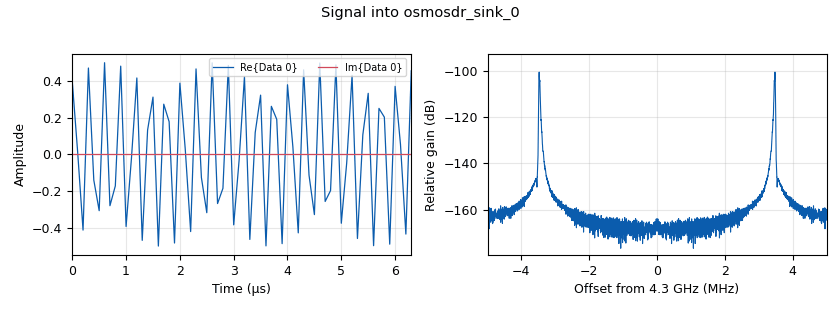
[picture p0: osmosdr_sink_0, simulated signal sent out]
options:
  parameters:
    author: LENOVO
    generate_options: qt_gui
    id: untitled
    output_language: python
    title: Not titled yet
  states: {}

blocks:
- name: chirps_per_second
  id: variable_qtgui_range
  parameters:
    start: '1'
    step: '1'
    stop: '1000000'
    value: '1'
  states: {}
- name: freq
  id: variable_qtgui_range
  parameters:
    start: 1e9
    step: 1e6
    stop: 6e9
    value: 4.3e9
  states: {}
- name: samp_rate
  id: variable
  parameters:
    value: 10e6
  states: {}
- name: analog_const_source_x_0
  id: analog_const_source_x
  parameters:
    const: '0'
    type: float
  states: {}
- name: analog_sig_source_x_0
  id: analog_sig_source_x
  parameters:
    amp: '0.5'
    freq: '10'
    offset: '0'
    phase: '0'
    samp_rate: samp_rate
    type: float
    waveform: analog.GR_SAW_WAVE
  states: {}
- name: blocks_float_to_complex_0
  id: blocks_float_to_complex
  parameters: {}
  states: {}
- name: blocks_multiply_xx_0
  id: blocks_multiply_xx
  parameters:
    type: complex
  states: {}
- name: blocks_vco_f_0
  id: blocks_vco_f
  parameters:
    amplitude: '0.5'
    samp_rate: samp_rate
    sensitivity: 2*3.14*10e6
  states: {}
- name: osmosdr_sink_0
  id: osmosdr_sink
  parameters:
    args: '"hackrf=0"'
    bb_gain0: '35'
    freq0: freq
    gain0: '35'
    if_gain0: '35'
    sample_rate: samp_rate
    sync: sync
    type: fc32
  states: {}
- name: osmosdr_source_0
  id: osmosdr_source
  parameters:
    ant0: '0'
    args: '"hackrf=1"'
    bb_gain0: '35'
    freq0: freq
    gain0: '35'
    gain_mode0: 'False'
    if_gain0: '35'
    sample_rate: samp_rate
    sync: sync
    type: fc32
  states: {}
- name: qtgui_freq_sink_x_0
  id: qtgui_freq_sink_x
  parameters:
    bw: 10e6
    ctrlpanel: 'True'
    fc: freq
    fftsize: '1024'
    grid: 'True'
    nconnections: '2'
    norm_window: 'True'
    type: complex
  states: {}

connections:
- [analog_const_source_x_0, '0', blocks_float_to_complex_0, '1']
- [analog_sig_source_x_0, '0', blocks_vco_f_0, '0']
- [blocks_float_to_complex_0, '0', blocks_multiply_xx_0, '0']
- [blocks_float_to_complex_0, '0', osmosdr_sink_0, '0']
- [blocks_float_to_complex_0, '0', qtgui_freq_sink_x_0, '0']
- [blocks_multiply_xx_0, '0', qtgui_freq_sink_x_0, '1']
- [blocks_vco_f_0, '0', blocks_float_to_complex_0, '0']
- [osmosdr_source_0, '0', blocks_multiply_xx_0, '1']

metadata:
  file_format: 1
  grc_version: 3.10.10.0
